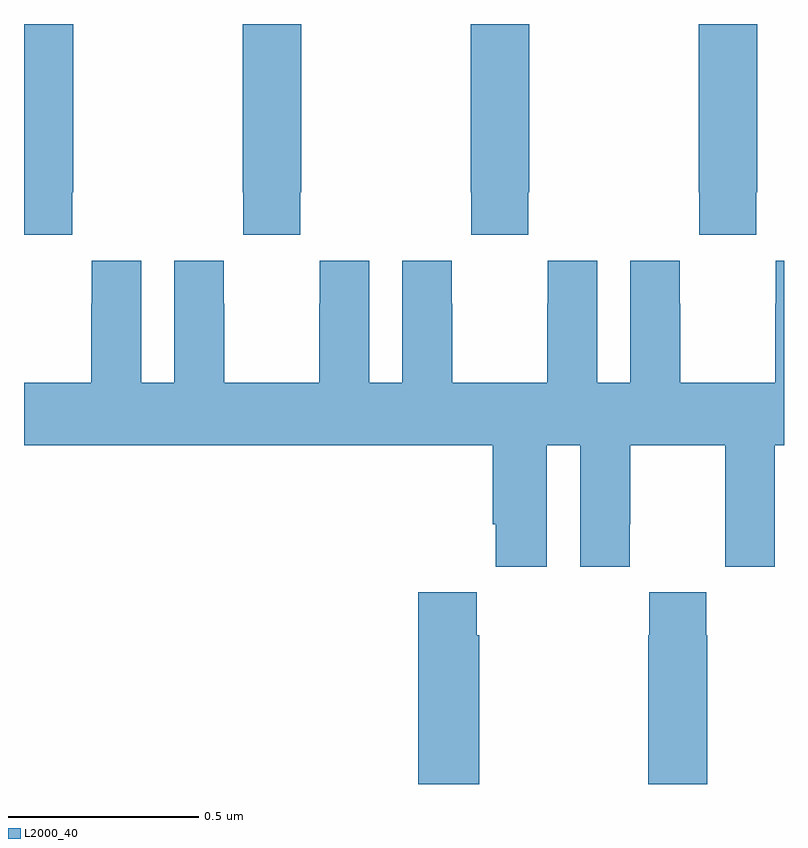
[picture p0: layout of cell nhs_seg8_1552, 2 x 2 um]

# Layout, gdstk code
import gdstk
lib = gdstk.Library(unit=1e-6, precision=1e-09)
def P(c, l, *ps):  # polygons
    for p in ps: c.add(gdstk.Polygon(p, *l))
L2000_40 = (2000, 40)

nhs_seg8_1552 = lib.new_cell('nhs_seg8_1552')
P(nhs_seg8_1552, L2000_40, [(131,1158.345),(131.127,1158.345),(131.127,1158.457),(131.13,1158.457),(131.13,1158.9),(131,1158.9)],
  [(131.727,1158.457),(131.73,1158.457),(131.73,1158.9),(131.575,1158.9),(131.575,1158.457),(131.577,1158.457),(131.577,1158.345),(131.727,1158.345)],
  [(132.327,1158.457),(132.33,1158.457),(132.33,1158.9),(132.175,1158.9),(132.175,1158.457),(132.177,1158.457),(132.177,1158.345),(132.327,1158.345)],
  [(132.927,1158.457),(132.93,1158.457),(132.93,1158.9),(132.775,1158.9),(132.775,1158.457),(132.777,1158.457),(132.777,1158.345),(132.927,1158.345)],
  [(132.376,1157.792),(132.464,1157.792),(132.464,1157.472),(132.594,1157.472),(132.594,1157.584),(132.595,1157.584),(132.595,1157.792),(132.845,1157.792),(132.845,1157.584),(132.846,1157.584),(132.846,1157.472),(132.976,1157.472),(132.976,1157.792),(133,1157.792),(133,1158.277),(132.978,1158.277),(132.978,1158.164),(132.977,1158.164),(132.977,1157.956),(132.727,1157.956),(132.727,1158.164),(132.726,1158.164),(132.726,1158.277),(132.596,1158.277),(132.596,1157.956),(132.508,1157.956),(132.508,1158.277),(132.378,1158.277),(132.378,1158.164),(132.377,1158.164),(132.377,1157.956),(132.127,1157.956),(132.127,1158.164),(132.126,1158.164),(132.126,1158.277),(131.996,1158.277),(131.996,1157.956),(131.908,1157.956),(131.908,1158.277),(131.778,1158.277),(131.778,1158.164),(131.777,1158.164),(131.777,1157.956),(131.527,1157.956),(131.527,1158.164),(131.526,1158.164),(131.526,1158.277),(131.396,1158.277),(131.396,1157.956),(131.308,1157.956),(131.308,1158.277),(131.178,1158.277),(131.178,1158.164),(131.177,1158.164),(131.177,1157.956),(131,1157.956),(131,1157.792),(132.233,1157.792),(132.233,1157.584),(132.242,1157.584),(132.242,1157.472),(132.376,1157.472)],
  [(132.198,1157.291),(132.191,1157.291),(132.191,1157.404),(132.038,1157.404),(132.038,1156.9),(132.198,1156.9)],
  [(132.798,1157.291),(132.795,1157.291),(132.795,1157.404),(132.645,1157.404),(132.645,1157.291),(132.643,1157.291),(132.643,1156.9),(132.798,1156.9)])

lib.write_gds('nhs_seg8_1552.gds')
